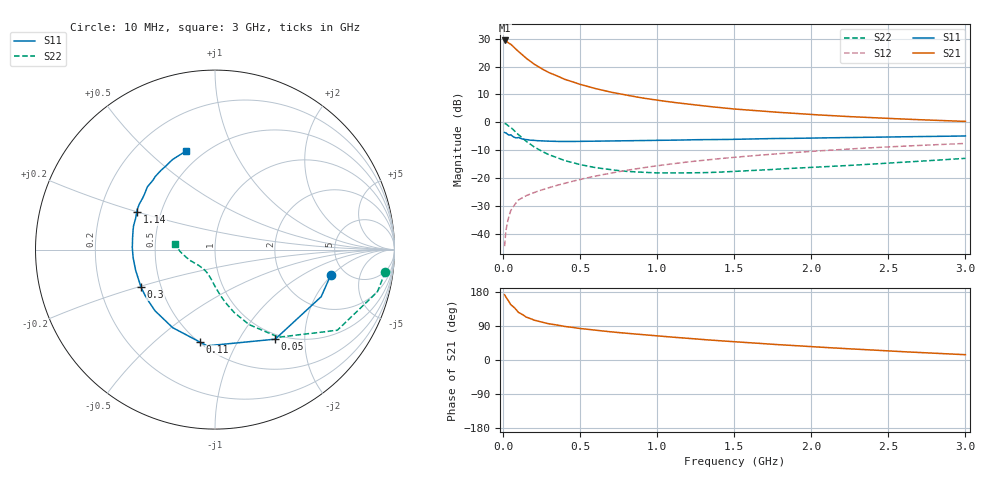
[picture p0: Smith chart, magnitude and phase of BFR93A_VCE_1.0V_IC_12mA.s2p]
! Infineon Technologies  Discrete & RF Semiconductors
! BFR93A
! VCE =  1.0 V,  IC =  12 mA
! Common Emitter S-Parameters:  Nov 2015
# GHz  S  MA  R  50
!  f  S11  S21  S12  S22
! GHz  MAG  ANG  MAG  ANG  MAG  ANG  MAG  ANG
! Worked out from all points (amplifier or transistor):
!   180 points, 10 MHz to 3 GHz, reference 50 ohm
!   highest |S21| = 29.3 dB at 10 MHz (marker M1)
!   |S21| within 3 dB of that: start of sweep to 80.92 MHz
!   unconditionally stable (mu >= 1): 476 MHz to end of sweep
!   at 160 MHz: K = 0.58, MSG = 24.3 dB, |S12| = -26.0 dB
!   at 1.22 GHz: K = 1.11, MAG = 8.2 dB, |S12| = -14.0 dB
!   at 3 GHz: K = 1.03, MAG = 2.9 dB, |S12| = -7.5 dB
!   S11 on the Smith chart (normalised r, x): 10 MHz: 3.87, -1.93; 50 MHz: 0.92, -1.44; 110 MHz: 0.51, -0.72; 300 MHz: 0.39, -0.21; 1.14 GHz: 0.36, +0.20; 3 GHz: 0.41, +0.66
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0.01  0.6605 -12.3  29.26 172.2  0.0061 84.6  0.9572 -7.5
0.02  0.6472 -23.9  28.58 165.0  0.0122 78.3  0.9345 -14.6
0.05  0.6012 -56.1  25.03 146.1  0.0265 66.6  0.8163 -33.4
0.1  0.5379 -94.7  18.6 125.4  0.0409 55.4  0.6035 -54.0
0.11  0.5224 -99.1  17.63 123.5  0.0425 54.7  0.5729 -55.8
0.15  0.4948 -118.5  14.03 113.1  0.0489 52.2  0.4585 -65.6
0.2  0.4774 -134.4  11.11 105.4  0.0555 52.3  0.3664 -73.0
0.24  0.4681 -143.1  9.512 101.0  0.0605 53.0  0.3169 -77.2
0.26  0.4658 -146.8  8.844 98.8  0.0631 53.4  0.2962 -79.2
0.3  0.4625 -153.0  7.737 95.3  0.0681 54.4  0.2623 -82.7
0.4  0.4569 -165.4  5.898 88.5  0.0814 57.0  0.2073 -89.7
0.5  0.4583 -174.3  4.79 83.1  0.0953 58.4  0.1759 -95.0
0.52  0.4583 -175.7  4.635 82.3  0.0982 58.6  0.1716 -96.0
0.6  0.4609 178.7  4.026 78.5  0.1096 59.4  0.1552 -100.4
0.7  0.4629 173.3  3.476 74.3  0.1238 59.7  0.1422 -105.6
0.84  0.469 166.6  2.938 69.2  0.1444 59.6  0.131 -113.0
1.02  0.4748 158.8  2.453 63.0  0.1704 58.6  0.1249 -121.7
1.14  0.4829 154.4  2.224 59.1  0.1875 57.7  0.1249 -127.8
1.52  0.4988 142.2  1.72 47.7  0.24 53.8  0.1336 -144.4
2.02  0.5265 128.8  1.375 34.8  0.3056 47.8  0.1578 -160.6
2.52  0.5489 117.2  1.174 23.6  0.3668 40.9  0.188 -174.6
3  0.572 106.5  1.042 14.0  0.4202 33.9  0.2275 172.1
